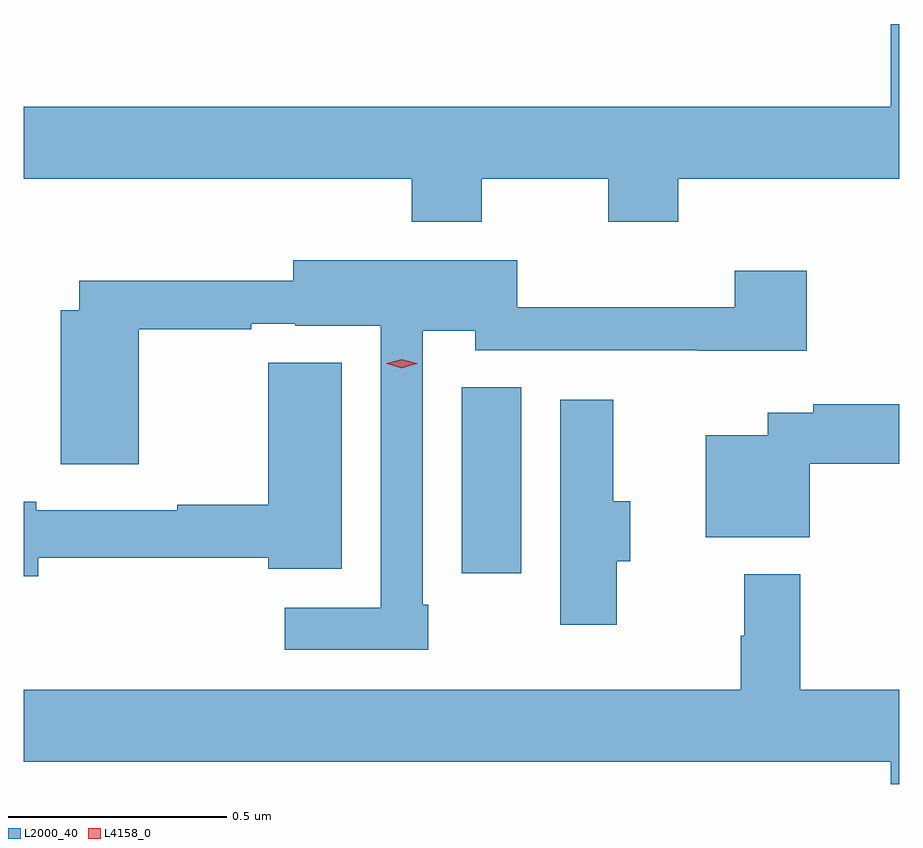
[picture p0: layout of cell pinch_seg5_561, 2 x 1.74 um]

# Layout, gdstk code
import gdstk
lib = gdstk.Library(unit=1e-6, precision=1e-09)
def R(c, l, rs):  # rectangles x0, y0, x1, y1
    for r in rs: c.add(gdstk.rectangle(r[:2], r[2:], *l))
def P(c, l, *ps):  # polygons
    for p in ps: c.add(gdstk.Polygon(p, *l))
L2000_40 = (2000, 40)
L4158_0 = (4158, 0)

pinch_seg5_561 = lib.new_cell('pinch_seg5_561')
R(pinch_seg5_561, L2000_40, [(991.199,834.546,991.336,834.971)])
P(pinch_seg5_561, L2000_40, [(991.245,835.448),(991.534,835.448),(991.534,835.349),(991.694,835.349),(991.694,835.448),(992.199,835.448),(992.199,835.801),(992.18,835.801),(992.18,835.612),(990.199,835.612),(990.199,835.448),(991.085,835.448),(991.085,835.349),(991.245,835.349)],
  [(991.123,834.475),(991.11,834.475),(991.11,835.1),(991.23,835.1),(991.23,835.056),(991.739,835.056),(991.739,835.055),(991.988,835.055),(991.988,835.237),(991.823,835.237),(991.823,835.154),(991.326,835.154),(991.326,835.261),(990.815,835.261),(990.815,835.215),(990.326,835.215),(990.326,835.147),(990.284,835.147),(990.284,834.795),(990.462,834.795),(990.462,835.104),(990.719,835.104),(990.719,835.116),(990.819,835.116),(990.819,835.112),(991.014,835.112),(991.014,834.468),(990.795,834.468),(990.795,834.372),(991.123,834.372)],
  [(990.232,834.582),(990.758,834.582),(990.758,834.557),(990.925,834.557),(990.925,835.027),(990.758,835.027),(990.758,834.703),(990.55,834.703),(990.55,834.69),(990.228,834.69),(990.228,834.71),(990.199,834.71),(990.199,834.539),(990.232,834.539)],
  [(991.554,834.574),(991.585,834.574),(991.585,834.711),(991.546,834.711),(991.546,834.943),(991.424,834.943),(991.424,834.429),(991.554,834.429)],
  [(991.995,834.796),(992.199,834.796),(992.199,834.932),(992.002,834.932),(992.002,834.913),(991.899,834.913),(991.899,834.862),(991.757,834.862),(991.757,834.629),(991.995,834.629)],
  [(992.199,834.28),(991.973,834.28),(991.973,834.544),(991.845,834.544),(991.845,834.404),(991.837,834.404),(991.837,834.28),(990.199,834.28),(990.199,834.116),(992.18,834.116),(992.18,834.065),(992.199,834.065)])
P(pinch_seg5_561, L4158_0, [(991.063,835.015),(991.028,835.025),(991.028,835.025),(991.028,835.026),(991.063,835.035),(991.097,835.026),(991.098,835.025),(991.097,835.025)])

lib.write_gds('pinch_seg5_561.gds')
